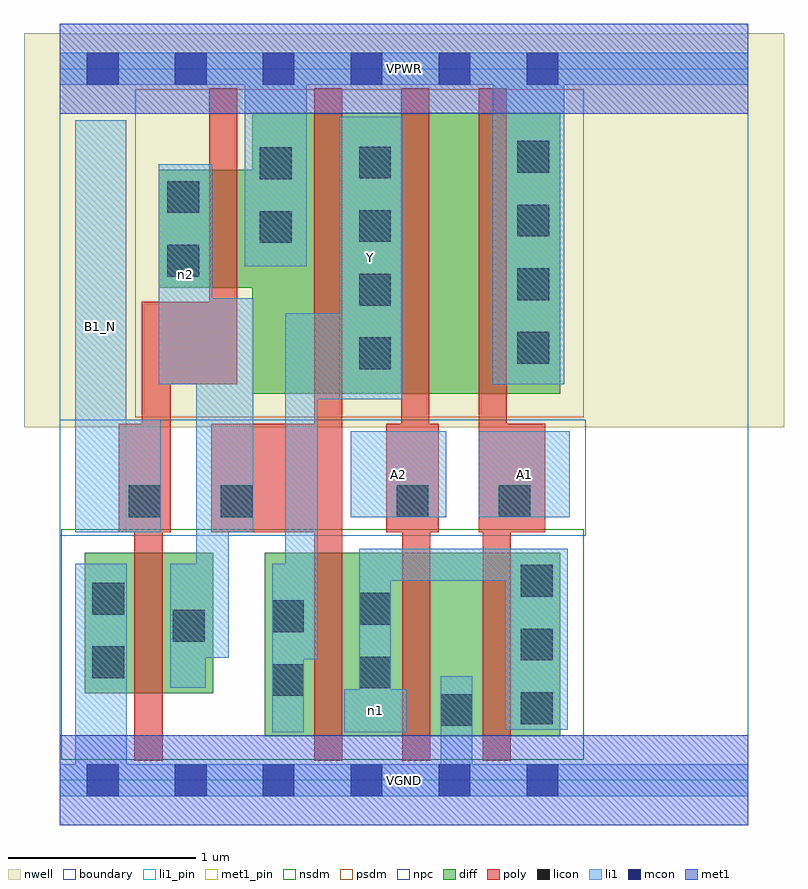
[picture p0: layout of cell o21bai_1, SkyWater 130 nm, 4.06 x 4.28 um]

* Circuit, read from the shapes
.subckt o21bai_1 A1 A2 B1_N VGND VPWR Y n1 n2
XM1 n2 B1_N VGND VSUBS sky130_fd_pr__nfet_01v8 w=0.75 l=0.15
XM2 n1 n2 Y VSUBS sky130_fd_pr__nfet_01v8 w=0.98 l=0.15
XM3 VGND A2 n1 VSUBS sky130_fd_pr__nfet_01v8 w=0.98 l=0.15
XM4 n1 A1 VGND VSUBS sky130_fd_pr__nfet_01v8 w=0.98 l=0.15
XM5 VPWR B1_N n2 n3 sky130_fd_pr__pfet_01v8 w=0.63 l=0.15
XM6 Y n2 VPWR n3 sky130_fd_pr__pfet_01v8 w=1.5 l=0.15
XM7 n4 A2 Y n3 sky130_fd_pr__pfet_01v8 w=1.5 l=0.15
XM8 VPWR A1 n4 n3 sky130_fd_pr__pfet_01v8 w=1.5 l=0.15
.ends

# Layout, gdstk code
import gdstk
lib = gdstk.Library(unit=1e-6, precision=1e-09)
def R(c, l, rs):  # rectangles x0, y0, x1, y1
    for r in rs: c.add(gdstk.rectangle(r[:2], r[2:], *l))
def A(c, l, x, y, w, h, nx, ny, dx, dy):  # array of equal rectangles
    R(c, l, [(x+i*dx, y+j*dy, x+i*dx+w, y+j*dy+h) for i in range(nx) for j in range(ny)])
nwell = (64, 20)
diff = (65, 20)
poly = (66, 20)
licon = (66, 44)
li1_pin = (67, 16)
li1 = (67, 20)
mcon = (67, 44)
met1_pin = (68, 16)
met1 = (68, 20)
nsdm = (93, 44)
psdm = (94, 20)
npc = (95, 20)
boundary = (235, 4)

o21bai_1 = lib.new_cell('o21bai_1')
R(o21bai_1, nwell, [(-0.19,1.885,3.87,3.99), (0,1.885,3.68,3.99)])
R(o21bai_1, diff, [(1.095,0.235,2.675,1.215), (0.135,0.465,0.82,1.215), (1.03,2.065,2.675,3.565), (0.53,2.63,2.675,3.26)])
R(o21bai_1, poly, [(0.4,0.105,0.55,1.905), (1.36,0.105,1.51,3.695), (1.83,0.105,1.98,1.905), (2.26,0.105,2.41,1.905), (0.315,1.325,0.595,1.905), (0.44,1.325,0.595,2.555), (0.81,1.325,1.51,1.905), (1.745,1.325,2.025,1.905), (1.825,1.325,1.975,3.695), (2.24,1.325,2.39,3.695), (2.24,1.325,2.595,1.905), (0.44,2.115,0.95,2.555), (0.8,2.115,0.95,3.695)])
A(o21bai_1, licon, 2.465, 0.3, 0.17, 0.17, 1, 3, 0, 0.34)
A(o21bai_1, licon, 1.6, 2.195, 0.17, 0.17, 1, 4, 0, 0.34)
A(o21bai_1, licon, 2.445, 2.225, 0.17, 0.17, 1, 4, 0, 0.34)
R(o21bai_1, licon, [(2.035,0.29,2.205,0.46), (1.135,0.45,1.305,0.62), (1.6,0.49,1.77,0.66), (0.175,0.545,0.345,0.715), (0.605,0.74,0.775,0.91), (1.135,0.79,1.305,0.96), (1.6,0.83,1.77,1), (0.175,0.885,0.345,1.055), (0.37,1.405,0.54,1.575), (0.86,1.405,1.03,1.575), (1.8,1.405,1.97,1.575), (2.345,1.405,2.515,1.575), (0.575,2.69,0.745,2.86), (1.07,2.87,1.24,3.04), (0.575,3.03,0.745,3.2), (1.07,3.21,1.24,3.38)])
R(o21bai_1, li1_pin, [(0.085,1.325,0.355,3.525), (1.555,1.405,2.065,1.865), (2.24,1.405,2.725,1.865), (1.495,2.035,1.83,3.545)])
R(o21bai_1, li1, [(0,-0.085,3.68,0.085), (0.085,-0.085,0.36,1.155), (2.035,-0.085,2.205,0.555), (1.135,0.255,1.305,1.155), (1.52,0.255,1.855,0.485), (1.6,0.255,1.77,1.235), (2.38,0.27,2.715,1.235), (0.59,0.495,0.78,1.155), (1.205,0.645,1.38,2.495), (0.73,0.655,0.905,2.575), (1.6,1.065,2.715,1.235), (0.085,1.325,0.355,3.525), (0.085,1.325,0.54,1.925), (0.905,1.325,1.035,2.575), (1.555,1.405,2.065,1.865), (2.24,1.405,2.725,1.865), (1.205,2.035,1.83,2.495), (1.495,2.035,1.83,3.545), (0.53,2.115,0.815,3.29), (2.315,2.115,2.695,3.885), (0.99,2.745,1.32,3.885), (0,3.715,3.68,3.885)])
A(o21bai_1, mcon, 0.145, -0.085, 0.17, 0.17, 6, 2, 0.47, 3.8)
R(o21bai_1, met1_pin, [(0,-0.24,3.68,0.24), (0,3.56,3.68,4.04)])
R(o21bai_1, met1, [(0,-0.24,3.68,0.24), (0,3.56,3.68,4.04)])
R(o21bai_1, nsdm, [(0.01,0.11,2.8,1.34)])
R(o21bai_1, psdm, [(0.405,1.94,2.8,3.69)])
R(o21bai_1, npc, [(0,1.305,2.81,1.925)])
R(o21bai_1, boundary, [(0,0,3.68,3.8)])
o21bai_1.add(gdstk.Label('A1', (2.482,1.635), layer=67, texttype=5))
o21bai_1.add(gdstk.Label('A2', (1.81,1.635), layer=67, texttype=5))
o21bai_1.add(gdstk.Label('B1_N', (0.22,2.425), layer=67, texttype=5))
o21bai_1.add(gdstk.Label('Y', (1.662,2.79), layer=67, texttype=5))
o21bai_1.add(gdstk.Label('n1', (1.687,0.37), layer=67, texttype=5))
o21bai_1.add(gdstk.Label('n2', (0.672,2.702), layer=67, texttype=5))
o21bai_1.add(gdstk.Label('VPWR', (1.84,3.8), layer=68, texttype=5))
o21bai_1.add(gdstk.Label('VGND', (1.84,0), layer=68, texttype=5))
o21bai_1.add(gdstk.Label('A1', (2.482,1.635), layer=67, texttype=16))
o21bai_1.add(gdstk.Label('A2', (1.81,1.635), layer=67, texttype=16))
o21bai_1.add(gdstk.Label('B1_N', (0.22,2.425), layer=67, texttype=16))
o21bai_1.add(gdstk.Label('Y', (1.662,2.79), layer=67, texttype=16))
o21bai_1.add(gdstk.Label('VPWR', (1.84,3.8), layer=68, texttype=16))
o21bai_1.add(gdstk.Label('VGND', (1.84,0), layer=68, texttype=16))

lib.write_gds('o21bai_1.gds')
